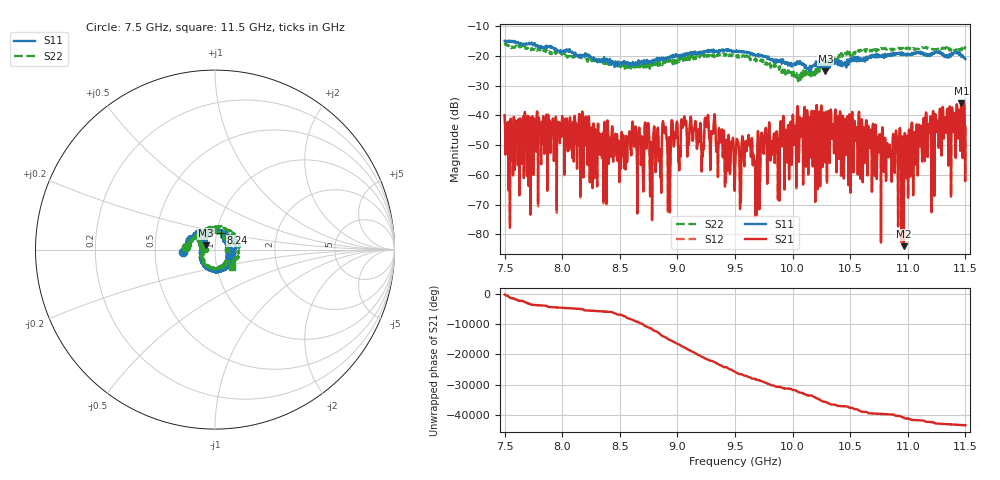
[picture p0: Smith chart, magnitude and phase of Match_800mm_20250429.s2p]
#  HZ  S  DB  R  50.00
! Rohde & Schwarz ZVA40 2Ports - Version 4.11 - 1145.1110k40 SN: 100216
! Date: 2025-04-29 18:33:04
! Measurements: S11 S21 S12 S22
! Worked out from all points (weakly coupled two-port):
!   5001 points, 7.5 GHz to 11.5 GHz, reference 50 ohm
!   highest |S21| = -35.90 dB at 11.47 GHz (marker M1); lowest = -84.0 dB at 10.97 GHz (marker M2)
!   lowest |S11| = -25.1 dB at 10.28 GHz (marker M3), VSWR 1.12, Z = 45.2 + j2.1 ohm
!   |S11| at or under -10 dB: start of sweep to end of sweep
!   |S22| runs from -28.5 to -15.7 dB; largest |S21 - S12| = 0.00014
!   S11 on the Smith chart (normalised r, x): 7.5 GHz: 0.70, -0.02; 8.24 GHz: 1.05, +0.20; 11.5 GHz: 1.17, -0.08
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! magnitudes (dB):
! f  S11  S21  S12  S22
! 7.5 GHz  -14.9  -39.9  -39.9  -15.7
! 8.167 GHz  -19.9  -43.9  -43.9  -20.8
! 8.24 GHz  -20.1  -62.5  -62.6  -22.1
! 8.694 GHz  -21.9  -47.7  -47.7  -23.4
! 8.734 GHz  -21.7  -49.5  -49.5  -22.7
! 8.772 GHz  -21.9  -49.1  -49.1  -22.4
! 8.834 GHz  -21.6  -45.5  -45.4  -24.0
! 8.887 GHz  -20.9  -45.9  -45.9  -23.0
! 8.925 GHz  -20.3  -47.7  -47.7  -21.8
! 9.053 GHz  -19.9  -42.4  -42.3  -21.2
! 9.211 GHz  -19.1  -58.6  -58.7  -20.6
! 9.254 GHz  -18.6  -43.7  -43.7  -20.0
! 9.5 GHz  -18.5  -59.5  -59.5  -19.7
! 9.63 GHz  -19.2  -49.6  -49.7  -21.4
! 9.673 GHz  -19.7  -55.5  -55.5  -21.0
! 9.75 GHz  -20.2  -52.5  -52.5  -21.4
! 10.17 GHz  -23.3  -38.5  -38.5  -24.6
! 10.28 GHz  -25.1  -43.4  -43.4  -23.5
! 10.83 GHz  -19.7  -51.9  -51.9  -18.0
! 10.97 GHz  -19.2  -84.0  -80.6  -17.8
! 11.47 GHz  -20.2  -35.9  -35.9  -18.1
! 11.5 GHz  -21.1  -43.8  -43.8  -17.6
